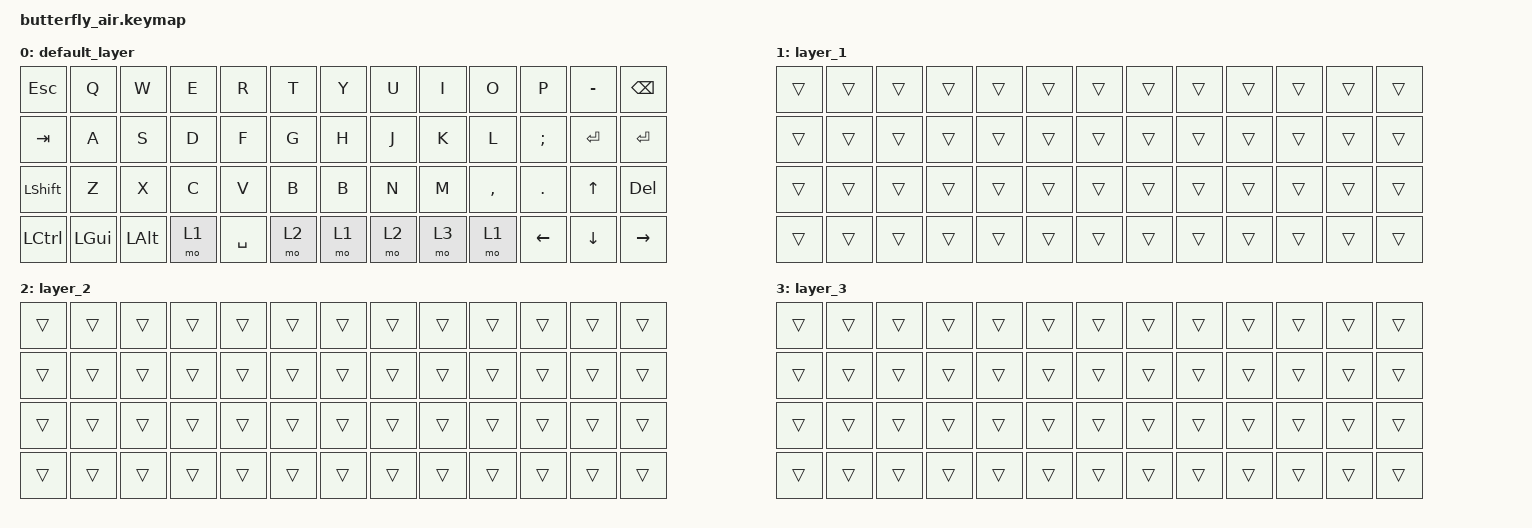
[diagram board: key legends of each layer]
/*
 * Copyright (c) 2023 The ZMK Contributors
 * SPDX-License-Identifier: MIT
 */

#include <behaviors.dtsi>
#include <dt-bindings/zmk/keys.h>

/ {
    keymap {
        compatible = "zmk,keymap";

        /* Layer 0: デフォルトレイヤー */
        default_layer {
            bindings = <
&kp ESC   &kp Q    &kp W    &kp E   &kp R     &kp T   &kp Y   &kp U   &kp I     &kp O     &kp P     &kp MINUS &kp BSPC
&kp TAB   &kp A    &kp S    &kp D   &kp F     &kp G   &kp H   &kp J   &kp K     &kp L     &kp SEMI  &kp RET   &kp RET
&kp LSHFT &kp Z    &kp X    &kp C   &kp V     &kp B   &kp B   &kp N   &kp M     &kp COMMA &kp DOT   &kp UP    &kp DEL
&kp LCTRL &kp LGUI &kp LALT &mo 1   &kp SPACE &mo 2   &mo 1   &mo 2   &mo 3     &mo 1     &kp LEFT  &kp DOWN  &kp RIGHT
            >;
        };

        /* Layer 1: テンキー・記号 */
        layer_1 {
            bindings = <
&trans &trans &trans &trans &trans &trans &trans &trans &trans &trans &trans &trans &trans
&trans &trans &trans &trans &trans &trans &trans &trans &trans &trans &trans &trans &trans
&trans &trans &trans &trans &trans &trans &trans &trans &trans &trans &trans &trans &trans
&trans &trans &trans &trans &trans &trans &trans &trans &trans &trans &trans &trans &trans
            >;
        };

        /* Layer 2 */
        layer_2 {
            bindings = <
&trans &trans &trans &trans &trans &trans &trans &trans &trans &trans &trans &trans &trans
&trans &trans &trans &trans &trans &trans &trans &trans &trans &trans &trans &trans &trans
&trans &trans &trans &trans &trans &trans &trans &trans &trans &trans &trans &trans &trans
&trans &trans &trans &trans &trans &trans &trans &trans &trans &trans &trans &trans &trans
            >;
        };

        /* Layer 3 */
        layer_3 {
            bindings = <
&trans &trans &trans &trans &trans &trans &trans &trans &trans &trans &trans &trans &trans
&trans &trans &trans &trans &trans &trans &trans &trans &trans &trans &trans &trans &trans
&trans &trans &trans &trans &trans &trans &trans &trans &trans &trans &trans &trans &trans
&trans &trans &trans &trans &trans &trans &trans &trans &trans &trans &trans &trans &trans
            >;
        };
    };
};
